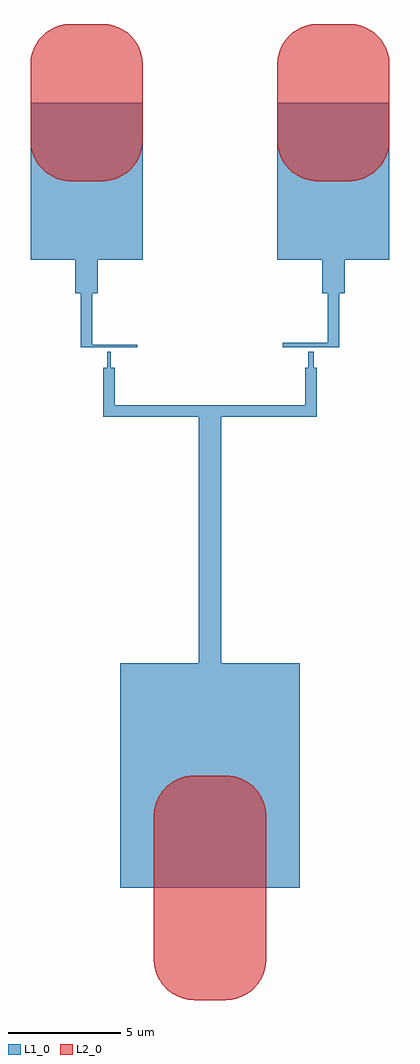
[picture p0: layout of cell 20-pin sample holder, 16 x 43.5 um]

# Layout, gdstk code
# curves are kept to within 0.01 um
import gdstk
lib = gdstk.Library(unit=1e-6, precision=1e-09)
def P(c, l, *ps):  # polygons
    for p in ps: c.add(gdstk.Polygon(p, *l))
L1_0 = (1, 0)
L2_0 = (2, 0)

c_20_pin_sample_holder = lib.new_cell('20-pin sample holder')
P(c_20_pin_sample_holder, L1_0, [(5.75,17.5),(6,17.5),(6,19),(8,19),(8,26),(3,26),(3,19),(5,19),(5,17.5),(5.25,17.5),(5.25,15.3),(3.25,15.3),(3.25,15.1),(5.75,15.1)],
  [(-3.25,15.2),(-5.25,15.2),(-5.25,17.5),(-5,17.5),(-5,19),(-3,19),(-3,26),(-8,26),(-8,19),(-6,19),(-6,17.5),(-5.75,17.5),(-5.75,15.1),(-3.25,15.1)],
  [(4,1),(0.5,1),(0.5,12),(4.75,12),(4.75,14.18),(4.625,14.18),(4.625,14.9),(4.375,14.9),(4.375,14.18),(4.25,14.18),(4.25,12.5),(-4.25,12.5),(-4.25,14.18),(-4.425,14.18),(-4.425,14.9),(-4.575,14.9),(-4.575,14.18),(-4.75,14.18),(-4.75,12),(-0.5,12),(-0.5,1),(-4,1),(-4,-9),(4,-9)])
P(c_20_pin_sample_holder, L2_0, [(-4.709,22.502),(-4.438,22.537),(-4.175,22.612),(-3.926,22.726),(-3.628,22.934),(-3.434,23.128),(-3.272,23.348),(-3.146,23.59),(-3.057,23.849),(-3.009,24.118),(-3,24.3),(-3,27.7),(-3.009,27.882),(-3.057,28.151),(-3.112,28.325),(-3.226,28.574),(-3.377,28.802),(-3.495,28.94),(-3.628,29.066),(-3.848,29.228),(-4.175,29.388),(-4.438,29.463),(-4.709,29.498),(-6.291,29.498),(-6.651,29.443),(-6.825,29.388),(-7.074,29.274),(-7.302,29.123),(-7.44,29.005),(-7.623,28.802),(-7.774,28.574),(-7.888,28.325),(-7.943,28.151),(-7.991,27.882),(-8,27.7),(-8,24.3),(-7.991,24.118),(-7.943,23.849),(-7.888,23.675),(-7.774,23.426),(-7.566,23.128),(-7.302,22.877),(-7.074,22.726),(-6.91,22.646),(-6.651,22.557),(-6.291,22.502)],
  [(6.291,22.502),(6.562,22.537),(6.825,22.612),(7.074,22.726),(7.372,22.934),(7.566,23.128),(7.728,23.348),(7.854,23.59),(7.943,23.849),(7.991,24.118),(8,24.3),(8,27.7),(7.991,27.882),(7.943,28.151),(7.888,28.325),(7.774,28.574),(7.623,28.802),(7.505,28.94),(7.372,29.066),(7.152,29.228),(6.825,29.388),(6.562,29.463),(6.291,29.498),(4.709,29.498),(4.349,29.443),(4.175,29.388),(3.926,29.274),(3.698,29.123),(3.56,29.005),(3.377,28.802),(3.226,28.574),(3.112,28.325),(3.057,28.151),(3.009,27.882),(3,27.7),(3,24.3),(3.009,24.118),(3.057,23.849),(3.112,23.675),(3.226,23.426),(3.434,23.128),(3.698,22.877),(3.926,22.726),(4.09,22.646),(4.349,22.557),(4.709,22.502)],
  [(0.791,-13.998),(1.062,-13.963),(1.325,-13.888),(1.574,-13.774),(1.872,-13.566),(2.066,-13.372),(2.274,-13.074),(2.388,-12.825),(2.463,-12.562),(2.5,-12.2),(2.5,-5.8),(2.463,-5.438),(2.388,-5.175),(2.316,-5.007),(2.228,-4.848),(2.066,-4.628),(1.94,-4.495),(1.728,-4.323),(1.574,-4.226),(1.325,-4.112),(1.062,-4.037),(0.791,-4.002),(-0.7,-4),(-1.062,-4.037),(-1.325,-4.112),(-1.574,-4.226),(-1.802,-4.377),(-2.005,-4.56),(-2.177,-4.772),(-2.316,-5.007),(-2.417,-5.261),(-2.479,-5.527),(-2.5,-5.8),(-2.5,-12.2),(-2.463,-12.562),(-2.388,-12.825),(-2.316,-12.993),(-2.228,-13.152),(-2.066,-13.372),(-1.802,-13.623),(-1.574,-13.774),(-1.41,-13.854),(-1.151,-13.943),(-0.791,-13.998)])

lib.write_gds('20-pin_sample_holder.gds')
